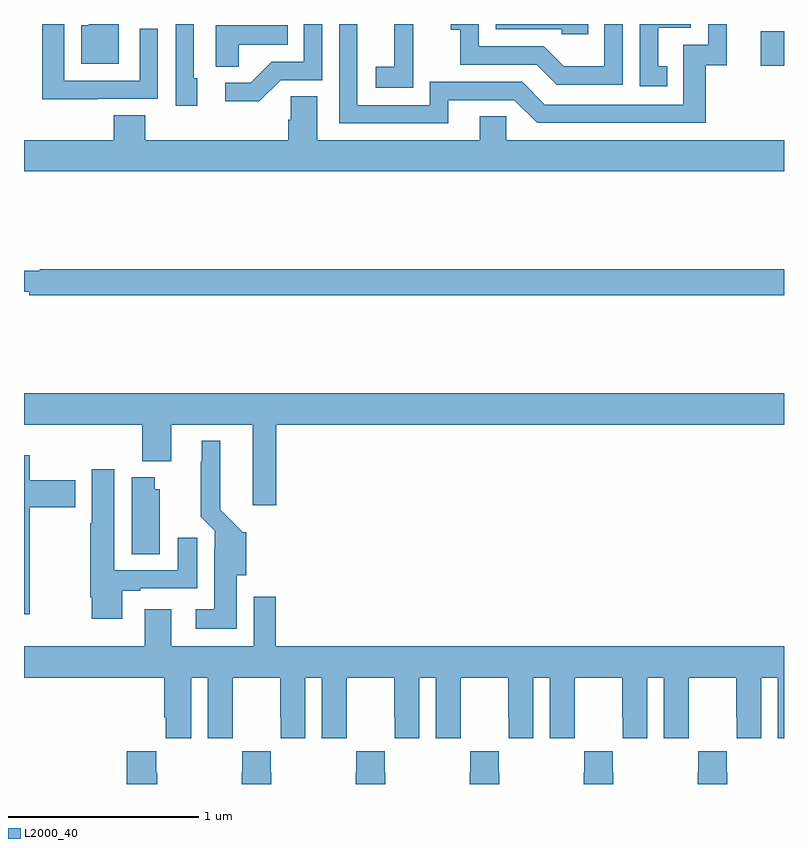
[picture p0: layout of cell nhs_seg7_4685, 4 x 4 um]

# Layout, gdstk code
import gdstk
lib = gdstk.Library(unit=1e-6, precision=1e-09)
def R(c, l, rs):  # rectangles x0, y0, x1, y1
    for r in rs: c.add(gdstk.rectangle(r[:2], r[2:], *l))
def P(c, l, *ps):  # polygons
    for p in ps: c.add(gdstk.Polygon(p, *l))
L2000_40 = (2000, 40)

nhs_seg7_4685 = lib.new_cell('nhs_seg7_4685')
R(nhs_seg7_4685, L2000_40, [(408.878,1059.78,409,1059.961)])
P(nhs_seg7_4685, L2000_40, [(405.913,1059.714),(405.894,1059.714),(405.894,1060),(405.798,1060),(405.798,1059.57),(405.913,1059.57)],
  [(408.386,1059.777),(408.337,1059.777),(408.337,1059.981),(408.51,1059.981),(408.51,1060),(408.24,1060),(408.24,1059.672),(408.386,1059.672)],
  [(407.049,1059.871),(407.048,1059.871),(407.048,1060),(406.949,1060),(406.949,1059.775),(406.851,1059.775),(406.851,1059.665),(407.049,1059.665)],
  [(407.969,1060),(407.484,1060),(407.484,1059.972),(407.829,1059.972),(407.829,1059.945),(407.969,1059.945)],
  [(405.389,1059.606),(405.705,1059.606),(405.705,1059.976),(405.609,1059.976),(405.609,1059.702),(405.213,1059.702),(405.213,1060),(405.097,1060),(405.097,1059.605),(405.389,1059.605)],
  [(405.499,1060),(405.341,1060),(405.341,1059.994),(405.302,1059.994),(405.302,1059.791),(405.499,1059.791)],
  [(406.35,1059.705),(406.569,1059.705),(406.569,1060),(406.473,1060),(406.473,1059.801),(406.304,1059.801),(406.193,1059.69),(406.059,1059.69),(406.059,1059.593),(406.237,1059.593)],
  [(408.15,1060),(408.054,1060),(408.054,1059.778),(407.84,1059.778),(407.736,1059.882),(407.394,1059.882),(407.394,1060),(407.247,1060),(407.247,1059.971),(407.296,1059.971),(407.296,1059.786),(407.699,1059.786),(407.804,1059.681),(408.15,1059.681)],
  [(407.233,1059.6),(407.58,1059.6),(407.7,1059.48),(408.587,1059.48),(408.587,1059.783),(408.698,1059.783),(408.698,1060),(408.6,1060),(408.6,1059.891),(408.471,1059.891),(408.471,1059.576),(407.742,1059.576),(407.622,1059.696),(407.136,1059.696),(407.136,1059.573),(406.755,1059.573),(406.755,1060),(406.659,1060),(406.659,1059.477),(407.233,1059.477)],
  [(406.131,1059.89),(406.388,1059.89),(406.388,1059.994),(406.01,1059.994),(406.01,1059.775),(406.131,1059.775)],
  [(409,1059.388),(407.538,1059.388),(407.538,1059.515),(407.399,1059.515),(407.399,1059.388),(406.543,1059.388),(406.543,1059.62),(406.404,1059.62),(406.404,1059.497),(406.391,1059.497),(406.391,1059.388),(405.638,1059.388),(405.638,1059.521),(405.473,1059.521),(405.473,1059.388),(405,1059.388),(405,1059.224),(409,1059.224)],
  [(409,1058.708),(405.083,1058.708),(405.083,1058.701),(405,1058.701),(405,1058.591),(405.028,1058.591),(405.028,1058.572),(409,1058.572)],
  [(406.328,1057.892),(409,1057.892),(409,1058.056),(405,1058.056),(405,1057.892),(405.623,1057.892),(405.623,1057.7),(405.775,1057.7),(405.775,1057.892),(406.205,1057.892),(406.205,1057.467),(406.328,1057.467)],
  [(406.12,1057.098),(406.171,1057.098),(406.171,1057.326),(406.151,1057.326),(406.033,1057.444),(406.033,1057.807),(405.935,1057.807),(405.935,1057.697),(405.931,1057.697),(405.931,1057.406),(406.005,1057.332),(406.005,1057.238),(406.001,1057.238),(406.001,1056.919),(405.903,1056.919),(405.903,1056.818),(406.12,1056.818)],
  [(405.03,1057.457),(405.271,1057.457),(405.271,1057.599),(405.03,1057.599),(405.03,1057.729),(405,1057.729),(405,1056.894),(405.03,1056.894)],
  [(405.517,1057.017),(405.613,1057.017),(405.613,1057.029),(405.913,1057.029),(405.913,1057.297),(405.809,1057.297),(405.809,1057.125),(405.475,1057.125),(405.475,1057.657),(405.356,1057.657),(405.356,1057.373),(405.349,1057.373),(405.349,1056.982),(405.356,1056.982),(405.356,1056.87),(405.517,1056.87)],
  [(405.715,1057.551),(405.688,1057.551),(405.688,1057.615),(405.566,1057.615),(405.566,1057.21),(405.715,1057.21)],
  [(406.325,1056.985),(406.209,1056.985),(406.209,1056.724),(405.775,1056.724),(405.775,1056.919),(405.635,1056.919),(405.635,1056.724),(405,1056.724),(405,1056.56),(405.737,1056.56),(405.737,1056.352),(405.746,1056.352),(405.746,1056.24),(405.88,1056.24),(405.88,1056.56),(405.968,1056.56),(405.968,1056.24),(406.098,1056.24),(406.098,1056.352),(406.099,1056.352),(406.099,1056.56),(406.349,1056.56),(406.349,1056.352),(406.35,1056.352),(406.35,1056.24),(406.48,1056.24),(406.48,1056.56),(406.568,1056.56),(406.568,1056.24),(406.698,1056.24),(406.698,1056.352),(406.699,1056.352),(406.699,1056.56),(406.949,1056.56),(406.949,1056.352),(406.95,1056.352),(406.95,1056.24),(407.08,1056.24),(407.08,1056.56),(407.168,1056.56),(407.168,1056.24),(407.298,1056.24),(407.298,1056.352),(407.299,1056.352),(407.299,1056.56),(407.549,1056.56),(407.549,1056.352),(407.55,1056.352),(407.55,1056.24),(407.68,1056.24),(407.68,1056.56),(407.768,1056.56),(407.768,1056.24),(407.898,1056.24),(407.898,1056.352),(407.899,1056.352),(407.899,1056.56),(408.149,1056.56),(408.149,1056.352),(408.15,1056.352),(408.15,1056.24),(408.28,1056.24),(408.28,1056.56),(408.368,1056.56),(408.368,1056.24),(408.498,1056.24),(408.498,1056.352),(408.499,1056.352),(408.499,1056.56),(408.749,1056.56),(408.749,1056.352),(408.75,1056.352),(408.75,1056.24),(408.88,1056.24),(408.88,1056.56),(408.968,1056.56),(408.968,1056.24),(409,1056.24),(409,1056.724),(406.325,1056.724)],
  [(406.302,1056.059),(406.299,1056.059),(406.299,1056.172),(406.149,1056.172),(406.149,1056.059),(406.147,1056.059),(406.147,1056),(406.302,1056)],
  [(405.702,1056.059),(405.695,1056.059),(405.695,1056.172),(405.542,1056.172),(405.542,1056),(405.702,1056)],
  [(408.702,1056.059),(408.699,1056.059),(408.699,1056.172),(408.549,1056.172),(408.549,1056.059),(408.547,1056.059),(408.547,1056),(408.702,1056)],
  [(406.902,1056.059),(406.899,1056.059),(406.899,1056.172),(406.749,1056.172),(406.749,1056.059),(406.747,1056.059),(406.747,1056),(406.902,1056)],
  [(407.502,1056.059),(407.499,1056.059),(407.499,1056.172),(407.349,1056.172),(407.349,1056.059),(407.347,1056.059),(407.347,1056),(407.502,1056)],
  [(408.102,1056.059),(408.099,1056.059),(408.099,1056.172),(407.949,1056.172),(407.949,1056.059),(407.947,1056.059),(407.947,1056),(408.102,1056)])

lib.write_gds('nhs_seg7_4685.gds')
